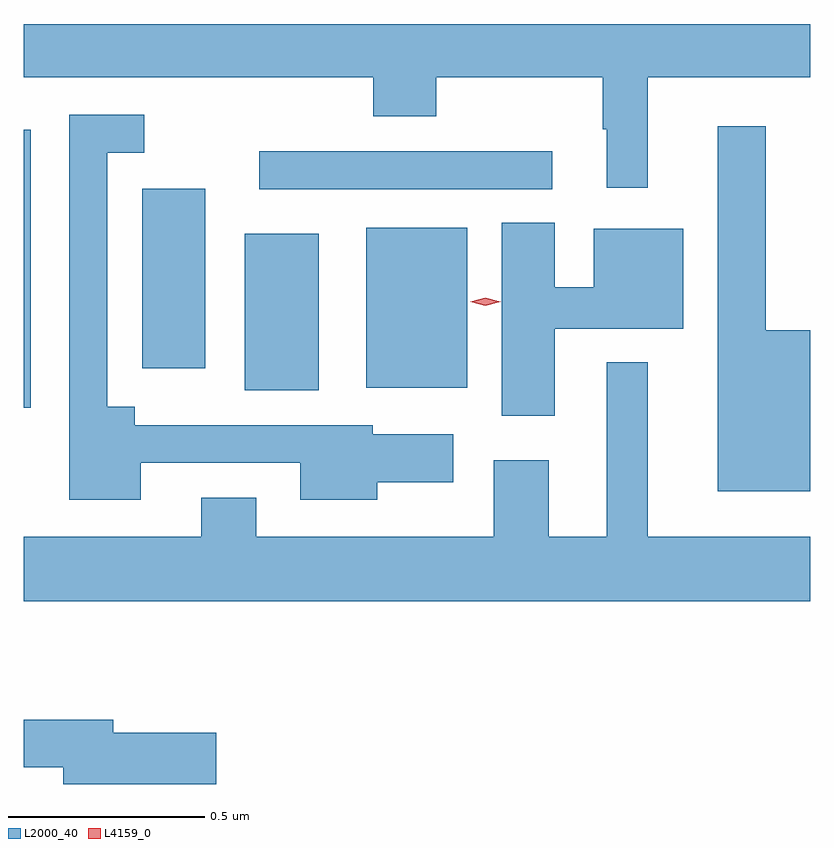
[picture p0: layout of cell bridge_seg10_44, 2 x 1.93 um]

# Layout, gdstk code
import gdstk
lib = gdstk.Library(unit=1e-6, precision=1e-09)
def R(c, l, rs):  # rectangles x0, y0, x1, y1
    for r in rs: c.add(gdstk.rectangle(r[:2], r[2:], *l))
def P(c, l, *ps):  # polygons
    for p in ps: c.add(gdstk.Polygon(p, *l))
L2000_40 = (2000, 40)
L4159_0 = (4159, 0)

bridge_seg10_44 = lib.new_cell('bridge_seg10_44')
R(bridge_seg10_44, L2000_40, [(891.85,1322.12,891.868,1322.827), (892.412,1322.165,892.6,1322.563), (892.721,1322.171,892.978,1322.578), (892.151,1322.22,892.312,1322.677), (892.449,1322.676,893.194,1322.772)])
P(bridge_seg10_44, L2000_40, [(893.437,1322.96),(893.85,1322.96),(893.85,1323.096),(891.85,1323.096),(891.85,1322.96),(892.739,1322.96),(892.739,1322.861),(892.899,1322.861),(892.899,1322.96),(893.323,1322.96),(893.323,1322.828),(893.333,1322.828),(893.333,1322.679),(893.437,1322.679)],
  [(892.147,1321.98),(892.553,1321.98),(892.553,1321.886),(892.749,1321.886),(892.749,1321.931),(892.942,1321.931),(892.942,1322.053),(892.737,1322.053),(892.737,1322.076),(892.132,1322.076),(892.132,1322.122),(892.062,1322.122),(892.062,1322.768),(892.156,1322.768),(892.156,1322.865),(891.966,1322.865),(891.966,1321.886),(892.147,1321.886)],
  [(893.85,1322.317),(893.737,1322.317),(893.737,1322.836),(893.615,1322.836),(893.615,1321.907),(893.85,1321.907)],
  [(893.2,1322.321),(893.527,1322.321),(893.527,1322.575),(893.3,1322.575),(893.3,1322.427),(893.2,1322.427),(893.2,1322.591),(893.066,1322.591),(893.066,1322.1),(893.2,1322.1)],
  [(893.85,1321.792),(893.437,1321.792),(893.437,1322.236),(893.333,1322.236),(893.333,1321.792),(893.185,1321.792),(893.185,1321.987),(893.045,1321.987),(893.045,1321.792),(892.441,1321.792),(892.441,1321.891),(892.301,1321.891),(892.301,1321.792),(891.85,1321.792),(891.85,1321.628),(893.85,1321.628)],
  [(892.339,1321.293),(892.078,1321.293),(892.078,1321.327),(891.85,1321.327),(891.85,1321.206),(891.95,1321.206),(891.95,1321.163),(892.339,1321.163)])
P(bridge_seg10_44, L4159_0, [(893.024,1322.38),(892.985,1322.39),(892.985,1322.39),(892.985,1322.39),(893.024,1322.4),(893.063,1322.39),(893.063,1322.39),(893.063,1322.39)])

lib.write_gds('bridge_seg10_44.gds')
